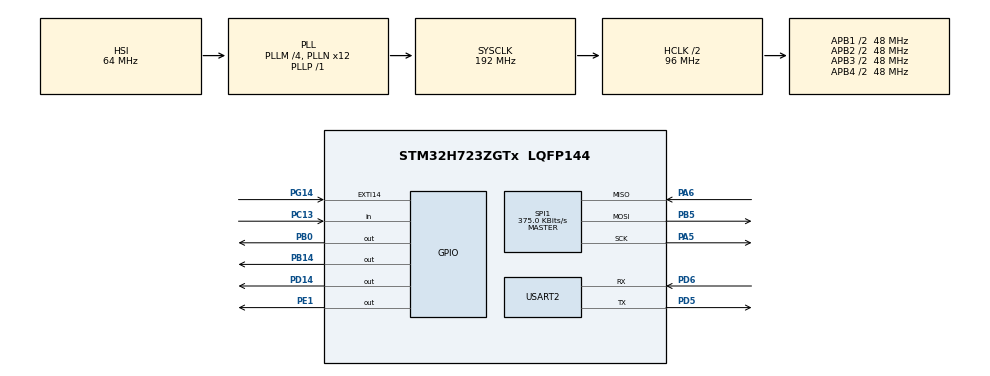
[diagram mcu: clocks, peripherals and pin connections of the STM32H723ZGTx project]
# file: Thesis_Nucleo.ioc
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CORTEX_M7.default_mode_Activation=1
Mcu.Family=STM32H7
Mcu.Name=STM32H723ZGTx
Mcu.Package=LQFP144
NUCLEO-H723ZG.BUTTON=1
NUCLEO-H723ZG.LD1=true
NUCLEO-H723ZG.LD2=true
NUCLEO-H723ZG.LD3=true
NUCLEO-H723ZG.VCP=true
NVIC.EXTI15_10_IRQn=true\:0\:0\:false\:false\:true\:false\:true\:true
NVIC.PriorityGroup=NVIC_PRIORITYGROUP_4
PA13(JTMS/SWDIO).GPIO_Label=SWDIO
PA13(JTMS/SWDIO).Signal=DEBUG_JTMS-SWDIO
PA14(JTCK/SWCLK).GPIO_Label=SWCLK
PA14(JTCK/SWCLK).Signal=DEBUG_JTCK-SWCLK
PA5.Mode=Full_Duplex_Master
PA5.Signal=SPI1_SCK
PA6.Mode=Full_Duplex_Master
PA6.Signal=SPI1_MISO
PB0.Signal=GPIO_Output
PB14.Signal=GPIO_Output
PB5.Mode=Full_Duplex_Master
PB5.Signal=SPI1_MOSI
PC13.Signal=GPIO_Input
PC14-OSC32_IN.Signal=RCC_OSC32_IN
PC15-OSC32_OUT.Signal=RCC_OSC32_OUT
PD14.Signal=GPIO_Output
PD5.Mode=Asynchronous
PD5.Signal=USART2_TX
PD6.Mode=Asynchronous
PD6.Signal=USART2_RX
PD8.Signal=USART3_TX
PD9.Signal=USART3_RX
PE1.Signal=GPIO_Output
PG14.Signal=GPXTI14
PH0-OSC_IN.Mode=HSE-External-Oscillator
PH0-OSC_IN.Signal=RCC_OSC_IN
PH1-OSC_OUT.Mode=HSE-External-Oscillator
PH1-OSC_OUT.Signal=RCC_OSC_OUT
ProjectManager.HeapSize=0x200
ProjectManager.StackSize=0x400
ProjectManager.TargetToolchain=STM32CubeIDE
RCC.ADCFreq_Value=608000000
RCC.APB1Freq_Value=48000000
RCC.APB2Freq_Value=48000000
RCC.APB3Freq_Value=48000000
RCC.APB4Freq_Value=48000000
RCC.CortexFreq_Value=192000000
RCC.D1PPRE=RCC_APB3_DIV2
RCC.D2PPRE1=RCC_APB1_DIV2
RCC.D2PPRE2=RCC_APB2_DIV2
RCC.D3PPRE=RCC_APB4_DIV2
RCC.DATA_CACHE_ENABLE=1
RCC.DIVM1=4
RCC.DIVM2=1
RCC.DIVN1=12
RCC.DIVN2=19
RCC.DIVP1=1
RCC.DIVQ1=4
RCC.HCLKFreq_Value=96000000
RCC.HPRE=RCC_HCLK_DIV2
RCC.HSE_VALUE=8000000
RCC.INSTRUCTION_CACHE_ENABLE=1
RCC.PREFETCH_ENABLE=1
RCC.SYSCLKFreq_VALUE=192000000
RCC.SYSCLKSource=RCC_SYSCLKSOURCE_PLLCLK
RCC.USBCLockSelection=RCC_USBCLKSOURCE_HSI48
RCC.USBFreq_Value=48000000
SPI1.BaudRatePrescaler=SPI_BAUDRATEPRESCALER_128
SPI1.CalculateBaudRate=375.0 KBits/s
SPI1.DataSize=SPI_DATASIZE_8BIT
SPI1.Direction=SPI_DIRECTION_2LINES
SPI1.Mode=SPI_MODE_MASTER
SPI1.VirtualType=VM_MASTER
USART2.VirtualMode-Asynchronous=VM_ASYNC
VP_MEMORYMAP_VS_MEMORYMAP.Mode=CurAppReg
VP_NUCLEO-H723ZG_VS_BSP_COMMON.Mode=COMMON
board=NUCLEO-H723ZG

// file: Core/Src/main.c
/* USER CODE BEGIN Header */
/**
  ******************************************************************************
  * @file           : main.c
  * @brief          : Main program body
  ******************************************************************************
  * @attention
  *
  * Copyright (c) 2025 STMicroelectronics.
  * All rights reserved.
  *
  * This software is licensed under terms that can be found in the LICENSE file
  * in the root directory of this software component.
  * If no LICENSE file comes with this software, it is provided AS-IS.
  *
  ******************************************************************************
  */
/* USER CODE END Header */
#include "main.h"
#include "mcp2515_rx.h"

/* USER CODE BEGIN Includes */
#include <stdio.h>
#include <string.h>
/* USER CODE END Includes */

//COM_InitTypeDef BspCOMInit;

SPI_HandleTypeDef hspi1;

UART_HandleTypeDef huart2;

/* USER CODE BEGIN PV */
CAN_Message_RX receivedMessage;
/* USER CODE END PV */

void SystemClock_Config(void);
static void MPU_Config(void);
static void MX_GPIO_Init(void);
static void MX_SPI1_Init(void);
static void MX_USART2_UART_Init(void);
/* USER CODE BEGIN PFP */
void CAN_CheckAndPrint(void);
/* USER CODE END PFP */

/* USER CODE BEGIN 0 */
// Bu fonksiyon CAN verisi olup olmadığını kontrol eder ve varsa veriyi UART üzerinden gönderir
void CAN_CheckAndPrint(void)
{
    if (MCP2515_RX_ReceiveMessage(&receivedMessage))
    {
        char msg[128];
        int len = snprintf(msg, sizeof(msg), "CAN ID: 0x%X\r\nDATA: ", receivedMessage.id);
        HAL_UART_Transmit(&huart2, (uint8_t *)msg, len, HAL_MAX_DELAY);

        for (uint8_t i = 0; i < receivedMessage.length && i < 8; i++)
        {
            len = snprintf(msg, sizeof(msg), "%02X ", receivedMessage.data[i]);
            HAL_UART_Transmit(&huart2, (uint8_t *)msg, len, HAL_MAX_DELAY);
        }

        const char *newline = "\r\n\r\n";
        HAL_UART_Transmit(&huart2, (uint8_t *)newline, strlen(newline), HAL_MAX_DELAY);
    }
}

/* USER CODE END 0 */

int main(void)
{

  /* MPU Configuration--------------------------------------------------------*/
  MPU_Config();

  /* MCU Configuration--------------------------------------------------------*/

  /* Reset of all peripherals, Initializes the Flash interface and the Systick. */
  HAL_Init();

  /* Configure the system clock */
  SystemClock_Config();

  /* Initialize all configured peripherals */
  MX_GPIO_Init();
  MX_SPI1_Init();
  MX_USART2_UART_Init();

  /* USER CODE BEGIN 2 */

   // MCP2515 Modülünü Başlatıyoruz

  if (!MCP2515_RX_Init()) {
      printf("MCP2515 initialization FAILED!\r\n");
      Error_Handler();
  } else {
      printf("MCP2515 initialization SUCCESS!\r\n");
  }

  /* USER CODE END 2 */

  /* Initialize leds */
//  BSP_LED_Init(LED_GREEN);
//  BSP_LED_Init(LED_YELLOW);
//  BSP_LED_Init(LED_RED);
//
//  /* Initialize USER push-button, will be used to trigger an interrupt each time it's pressed.*/
//  BSP_PB_Init(BUTTON_USER, BUTTON_MODE_EXTI);
//
//  /* Initialize COM1 port (115200, 8 bits (7-bit data + 1 stop bit), no parity */
//  BspCOMInit.BaudRate   = 115200;
//  BspCOMInit.WordLength = COM_WORDLENGTH_8B;
//  BspCOMInit.StopBits   = COM_STOPBITS_1;
//  BspCOMInit.Parity     = COM_PARITY_NONE;
//  BspCOMInit.HwFlowCtl  = COM_HWCONTROL_NONE;
//  if (BSP_COM_Init(COM1, &BspCOMInit) != BSP_ERROR_NONE)
//  {
//    Error_Handler();
//  }

  /* Infinite loop */
  /* USER CODE BEGIN WHILE */
  while (1)
  {
	  CAN_CheckAndPrint();  // Her döngüde CAN verisi kontrol edilecek ve varsa UART üzerinden yazdırılacak

	  HAL_Delay(2000);       // 100ms bekle (yoğun CPU kullanımını önlemek için)

	  //printf("Merhaba NUCLEO UART Test\r\n");
	  //HAL_Delay(100);

	  //char msg[] = "UART Test\r\n";
	  //HAL_UART_Transmit(&huart2, (uint8_t *)msg, strlen(msg), HAL_MAX_DELAY);
	  //HAL_Delay(1000);

    /* USER CODE END WHILE */

  }
}

void SystemClock_Config(void)
{
  RCC_OscInitTypeDef RCC_OscInitStruct = {0};
  RCC_ClkInitTypeDef RCC_ClkInitStruct = {0};

  /** Supply configuration update enable
  */
  HAL_PWREx_ConfigSupply(PWR_LDO_SUPPLY);

  /** Configure the main internal regulator output voltage
  */
  __HAL_PWR_VOLTAGESCALING_CONFIG(PWR_REGULATOR_VOLTAGE_SCALE2);

  while(!__HAL_PWR_GET_FLAG(PWR_FLAG_VOSRDY)) {}

  /** Initializes the RCC Oscillators according to the specified parameters
  * in the RCC_OscInitTypeDef structure.
  */
  RCC_OscInitStruct.OscillatorType = RCC_OSCILLATORTYPE_HSI;
  RCC_OscInitStruct.HSIState = RCC_HSI_DIV1;
  RCC_OscInitStruct.HSICalibrationValue = 64;
  RCC_OscInitStruct.PLL.PLLState = RCC_PLL_ON;
  RCC_OscInitStruct.PLL.PLLSource = RCC_PLLSOURCE_HSI;
  RCC_OscInitStruct.PLL.PLLM = 4;
  RCC_OscInitStruct.PLL.PLLN = 12;
  RCC_OscInitStruct.PLL.PLLP = 1;
  RCC_OscInitStruct.PLL.PLLQ = 4;
  RCC_OscInitStruct.PLL.PLLR = 2;
  RCC_OscInitStruct.PLL.PLLRGE = RCC_PLL1VCIRANGE_3;
  RCC_OscInitStruct.PLL.PLLVCOSEL = RCC_PLL1VCOWIDE;
  RCC_OscInitStruct.PLL.PLLFRACN = 0;
  if (HAL_RCC_OscConfig(&RCC_OscInitStruct) != HAL_OK)
  {
    Error_Handler();
  }

  /** Initializes the CPU, AHB and APB buses clocks
  */
  RCC_ClkInitStruct.ClockType = RCC_CLOCKTYPE_HCLK|RCC_CLOCKTYPE_SYSCLK
                              |RCC_CLOCKTYPE_PCLK1|RCC_CLOCKTYPE_PCLK2
                              |RCC_CLOCKTYPE_D3PCLK1|RCC_CLOCKTYPE_D1PCLK1;
  RCC_ClkInitStruct.SYSCLKSource = RCC_SYSCLKSOURCE_PLLCLK;
  RCC_ClkInitStruct.SYSCLKDivider = RCC_SYSCLK_DIV1;
  RCC_ClkInitStruct.AHBCLKDivider = RCC_HCLK_DIV2;
  RCC_ClkInitStruct.APB3CLKDivider = RCC_APB3_DIV2;
  RCC_ClkInitStruct.APB1CLKDivider = RCC_APB1_DIV2;
  RCC_ClkInitStruct.APB2CLKDivider = RCC_APB2_DIV2;
  RCC_ClkInitStruct.APB4CLKDivider = RCC_APB4_DIV2;

  if (HAL_RCC_ClockConfig(&RCC_ClkInitStruct, FLASH_LATENCY_1) != HAL_OK)
  {
    Error_Handler();
  }
}

static void MX_SPI1_Init(void)
{

  /* SPI1 parameter configuration*/
  hspi1.Instance = SPI1;
  hspi1.Init.Mode = SPI_MODE_MASTER;
  hspi1.Init.Direction = SPI_DIRECTION_2LINES;
  hspi1.Init.DataSize = SPI_DATASIZE_8BIT;
  hspi1.Init.CLKPolarity = SPI_POLARITY_LOW;
  hspi1.Init.CLKPhase = SPI_PHASE_1EDGE;
  hspi1.Init.NSS = SPI_NSS_SOFT;
  hspi1.Init.BaudRatePrescaler = SPI_BAUDRATEPRESCALER_128;
  hspi1.Init.FirstBit = SPI_FIRSTBIT_MSB;
  hspi1.Init.TIMode = SPI_TIMODE_DISABLE;
  hspi1.Init.CRCCalculation = SPI_CRCCALCULATION_DISABLE;
  hspi1.Init.CRCPolynomial = 0x0;
  hspi1.Init.NSSPMode = SPI_NSS_PULSE_ENABLE;
  hspi1.Init.NSSPolarity = SPI_NSS_POLARITY_LOW;
  hspi1.Init.FifoThreshold = SPI_FIFO_THRESHOLD_01DATA;
  hspi1.Init.TxCRCInitializationPattern = SPI_CRC_INITIALIZATION_ALL_ZERO_PATTERN;
  hspi1.Init.RxCRCInitializationPattern = SPI_CRC_INITIALIZATION_ALL_ZERO_PATTERN;
  hspi1.Init.MasterSSIdleness = SPI_MASTER_SS_IDLENESS_00CYCLE;
  hspi1.Init.MasterInterDataIdleness = SPI_MASTER_INTERDATA_IDLENESS_00CYCLE;
  hspi1.Init.MasterReceiverAutoSusp = SPI_MASTER_RX_AUTOSUSP_DISABLE;
  hspi1.Init.MasterKeepIOState = SPI_MASTER_KEEP_IO_STATE_DISABLE;
  hspi1.Init.IOSwap = SPI_IO_SWAP_DISABLE;
  if (HAL_SPI_Init(&hspi1) != HAL_OK)
  {
    Error_Handler();
  }

}

static void MX_USART2_UART_Init(void)
{

  /* USER CODE BEGIN USART2_Init 0 */
	__HAL_RCC_USART2_CLK_ENABLE();
  /* USER CODE END USART2_Init 0 */

  huart2.Instance = USART2;
  huart2.Init.BaudRate = 115200;
  huart2.Init.WordLength = UART_WORDLENGTH_8B;
  huart2.Init.StopBits = UART_STOPBITS_1;
  huart2.Init.Parity = UART_PARITY_NONE;
  huart2.Init.Mode = UART_MODE_TX_RX;
  huart2.Init.HwFlowCtl = UART_HWCONTROL_NONE;
  huart2.Init.OverSampling = UART_OVERSAMPLING_16;
  huart2.Init.OneBitSampling = UART_ONE_BIT_SAMPLE_DISABLE;
  huart2.Init.ClockPrescaler = UART_PRESCALER_DIV1;
  huart2.AdvancedInit.AdvFeatureInit = UART_ADVFEATURE_NO_INIT;
  if (HAL_UART_Init(&huart2) != HAL_OK)
  {
    Error_Handler();
  }
  if (HAL_UARTEx_SetTxFifoThreshold(&huart2, UART_TXFIFO_THRESHOLD_1_8) != HAL_OK)
  {
    Error_Handler();
  }
  if (HAL_UARTEx_SetRxFifoThreshold(&huart2, UART_RXFIFO_THRESHOLD_1_8) != HAL_OK)
  {
    Error_Handler();
  }
  if (HAL_UARTEx_DisableFifoMode(&huart2) != HAL_OK)
  {
    Error_Handler();
  }

}

static void MX_GPIO_Init(void)
{
  GPIO_InitTypeDef GPIO_InitStruct = {0};

  /* GPIO Ports Clock Enable */
  __HAL_RCC_GPIOC_CLK_ENABLE();
  __HAL_RCC_GPIOH_CLK_ENABLE();
  __HAL_RCC_GPIOA_CLK_ENABLE();
  __HAL_RCC_GPIOD_CLK_ENABLE();
  __HAL_RCC_GPIOG_CLK_ENABLE();
  __HAL_RCC_GPIOB_CLK_ENABLE();

  /*Configure GPIO pin Output Level */
  HAL_GPIO_WritePin(GPIOD, GPIO_PIN_14, GPIO_PIN_RESET);

  /*Configure GPIO pin : PD14 */
  GPIO_InitStruct.Pin = GPIO_PIN_14;
  GPIO_InitStruct.Mode = GPIO_MODE_OUTPUT_PP;
  GPIO_InitStruct.Pull = GPIO_NOPULL;
  GPIO_InitStruct.Speed = GPIO_SPEED_FREQ_LOW;
  HAL_GPIO_Init(GPIOD, &GPIO_InitStruct);

  /*Configure GPIO pin : PG14 */
  GPIO_InitStruct.Pin = GPIO_PIN_14;
  GPIO_InitStruct.Mode = GPIO_MODE_IT_RISING;
  GPIO_InitStruct.Pull = GPIO_NOPULL;
  HAL_GPIO_Init(GPIOG, &GPIO_InitStruct);

  /* EXTI interrupt init*/
  HAL_NVIC_SetPriority(EXTI15_10_IRQn, 0, 0);
  HAL_NVIC_EnableIRQ(EXTI15_10_IRQn);

}

 /* MPU Configuration */

void MPU_Config(void)
{
  MPU_Region_InitTypeDef MPU_InitStruct = {0};

  /* Disables the MPU */
  HAL_MPU_Disable();

  /** Initializes and configures the Region and the memory to be protected
  */
  MPU_InitStruct.Enable = MPU_REGION_ENABLE;
  MPU_InitStruct.Number = MPU_REGION_NUMBER0;
  MPU_InitStruct.BaseAddress = 0x0;
  MPU_InitStruct.Size = MPU_REGION_SIZE_4GB;
  MPU_InitStruct.SubRegionDisable = 0x87;
  MPU_InitStruct.TypeExtField = MPU_TEX_LEVEL0;
  MPU_InitStruct.AccessPermission = MPU_REGION_NO_ACCESS;
  MPU_InitStruct.DisableExec = MPU_INSTRUCTION_ACCESS_DISABLE;
  MPU_InitStruct.IsShareable = MPU_ACCESS_SHAREABLE;
  MPU_InitStruct.IsCacheable = MPU_ACCESS_NOT_CACHEABLE;
  MPU_InitStruct.IsBufferable = MPU_ACCESS_NOT_BUFFERABLE;

  HAL_MPU_ConfigRegion(&MPU_InitStruct);
  /* Enables the MPU */
  HAL_MPU_Enable(MPU_PRIVILEGED_DEFAULT);

}

void Error_Handler(void)
{
  __disable_irq();
  while (1)
  {
  }
}
